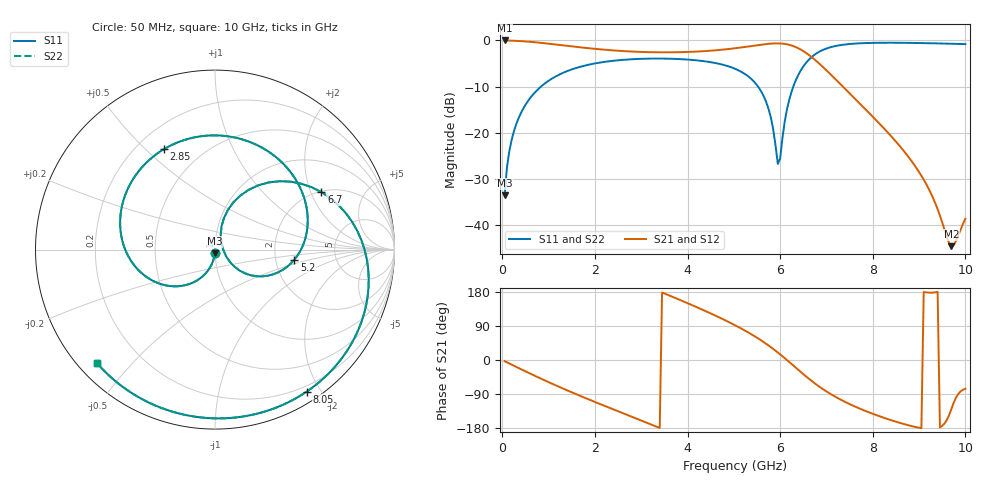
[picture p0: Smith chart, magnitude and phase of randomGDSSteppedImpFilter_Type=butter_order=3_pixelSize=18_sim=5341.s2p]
! freq	dB(S11)	phase(S11)	dB(S12)	phase(S12)
!  dB(S21)	phase(S21)	dB(S22)	phase(S22)
!S-par simulation data
#  GHz  S  DB  R 50
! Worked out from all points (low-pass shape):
!   200 points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, 50 MHz to 10 GHz, reference 50 ohm
!   highest |S21| = -0.01 dB at 50 MHz (marker M1); lowest = -44.6 dB at 9.7 GHz (marker M2)
!   |S21| within 3 dB of the highest: start of sweep to 6.602 GHz
!   lowest |S11| = -33.6 dB at 50 MHz (marker M3), VSWR 1.04, Z = 49.8 - j2.09 ohm
!   |S11| at or under -10 dB: start of sweep to 835.1 MHz; 5.522 GHz to 6.284 GHz (762.3 MHz wide, 12.9 % of centre)
!   |S22| runs from -33.6 to -0.5 dB; largest |S21 - S12| = 0
!   S11 on the Smith chart (normalised r, x): 50 MHz: 1.00, -0.04; 2.85 GHz: 0.31, +0.57; 5.2 GHz: 2.55, -0.36; 6.7 GHz: 2.03, +2.39; 8.05 GHz: 0.13, -1.83; 10 GHz: 0.05, -0.40
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0.05  -33.58 -93.0  -0.01 -3.1  -0.01 -3.1  -33.58 -93.0
0.1  -27.58 -96.2  -0.02 -6.1  -0.02 -6.1  -27.58 -96.2
0.2  -21.61 -102.5  -0.05 -12.1  -0.05 -12.1  -21.61 -102.5
0.5  -13.96 -120.5  -0.22 -29.9  -0.22 -29.9  -13.96 -120.5
1.1  -8.10 -154.6  -0.82 -64.0  -0.82 -64.0  -8.10 -154.6
1.75  -5.53 171.2  -1.57 -98.1  -1.57 -98.1  -5.53 171.2
2.85  -4.05 117.1  -2.43 -152.3  -2.43 -152.3  -4.05 117.1
3.4  -3.92 90.2  -2.57 -179.4  -2.57 -179.4  -3.92 90.2
4.25  -4.37 46.9  -2.39 136.7  -2.39 136.7  -4.37 46.9
5.05  -6.24 2.0  -1.67 90.2  -1.67 90.2  -6.24 2.0
5.2  -7.02 -7.2  -1.47 80.3  -1.47 80.3  -7.02 -7.2
5.7  -13.38 -38.3  -0.77 42.6  -0.77 42.6  -13.37 -38.2
5.85  -19.24 -39.8  -0.65 29.3  -0.65 29.3  -19.22 -39.6
5.95  -26.74 -1.9  -0.64 19.8  -0.64 19.8  -26.65 -1.6
6.25  -10.98 68.8  -1.11 -11.0  -1.11 -11.0  -10.98 68.7
6.7  -3.43 28.4  -3.77 -57.2  -3.77 -57.2  -3.43 28.4
7.25  -1.10 -13.8  -8.94 -101.0  -8.94 -101.0  -1.10 -13.8
8.05  -0.52 -57.2  -17.03 -144.2  -17.03 -144.2  -0.52 -57.2
8.35  -0.50 -70.5  -20.22 -157.0  -20.22 -157.0  -0.50 -70.5
9.15  -0.59 -103.0  -31.04 178.4  -31.04 178.4  -0.59 -103.0
9.7  -0.71 -124.4  -44.55 -128.5  -44.55 -128.5  -0.71 -124.4
10  -0.80 -136.2  -38.62 -75.8  -38.62 -75.8  -0.80 -136.2
